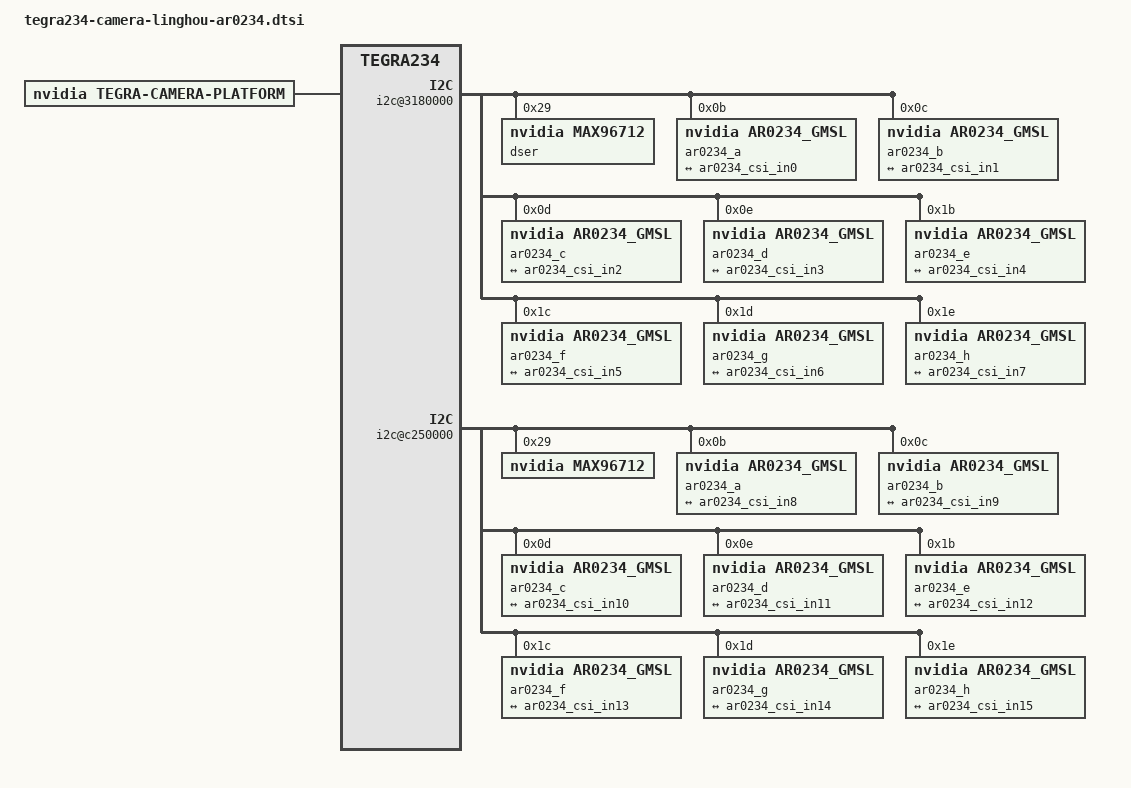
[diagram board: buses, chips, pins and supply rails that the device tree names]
// SPDX-License-Identifier: GPL-2.0-only
// SPDX-FileCopyrightText: Copyright (c) 2023-2024, NVIDIA CORPORATION & AFFILIATE   S. All rights reserved.

#include <dt-bindings/clock/tegra234-clock.h>
#include <dt-bindings/gpio/tegra234-gpio.h>

//#define PIXEL_PHASE_VAL "yuyv"
#define PIXEL_PHASE_VAL "uyvy"

/ {
	vendor-gmsl-camera-info {
		compatible = "vendor-gmsl-camera-info";
		GMSL_CAMERA_TYPE = "=AR0234";
		dtsname = "tegra234-camera-ar0234.dtsi";
		version = "v1.1.0";
		GMSLA = "AR0234";
		GMSLB = "AR0234";
		description = "AR0234 dual DES, 4 ports x (Depth+RGB)";
	};

	bus@0 {
		i2c@3180000 {
			dser: max96712@29 {
				compatible = "nvidia,max96712";
				reg = <0x29>;
				csi-mode = "2x4";
			};
			
			ar0234_a@0b {
				def-addr = <0x3c>;
				/* Define any required hw resources needed by driver */
				/* ie. clocks, io pins, power sources */
				clocks = <&bpmp TEGRA234_CLK_EXTPERIPH1>,
					   <&bpmp TEGRA234_CLK_EXTPERIPH1>;
				clock-names = "extperiph1", "pllp_grtba";
				mclk = "extperiph1";
				dser-ser-init = <1>;
			};
			ar0234_b@0c {
				def-addr = <0x3d>;
				/* Define any required hw resources needed by driver */
				/* ie. clocks, io pins, power sources */
				clocks = <&bpmp TEGRA234_CLK_EXTPERIPH1>,
					   <&bpmp TEGRA234_CLK_EXTPERIPH1>;
				clock-names = "extperiph1", "pllp_grtba";
				mclk = "extperiph1";
			};
			ar0234_c@0d {
				def-addr = <0x3c>;
				/* Define any required hw resources needed by driver */
				/* ie. clocks, io pins, power sources */
				clocks = <&bpmp TEGRA234_CLK_EXTPERIPH1>,
					   <&bpmp TEGRA234_CLK_EXTPERIPH1>;
				clock-names = "extperiph1", "pllp_grtba";
				mclk = "extperiph1";
			};
			ar0234_d@0e {
				def-addr = <0x3d>;
				/* Define any required hw resources needed by driver */
				/* ie. clocks, io pins, power sources */
				clocks = <&bpmp TEGRA234_CLK_EXTPERIPH1>,
					   <&bpmp TEGRA234_CLK_EXTPERIPH1>;
				clock-names = "extperiph1", "pllp_grtba";
				mclk = "extperiph1";
			};
			ar0234_e@1b {
				def-addr = <0x3c>;
				/* Define any required hw resources needed by driver */
				/* ie. clocks, io pins, power sources */
				clocks = <&bpmp TEGRA234_CLK_EXTPERIPH1>,
					   <&bpmp TEGRA234_CLK_EXTPERIPH1>;
				clock-names = "extperiph1", "pllp_grtba";
				mclk = "extperiph1";
				dser-ser-init = <1>;
			};
			ar0234_f@1c {
				def-addr = <0x3d>;
				/* Define any required hw resources needed by driver */
				/* ie. clocks, io pins, power sources */
				clocks = <&bpmp TEGRA234_CLK_EXTPERIPH1>,
					   <&bpmp TEGRA234_CLK_EXTPERIPH1>;
				clock-names = "extperiph1", "pllp_grtba";
				mclk = "extperiph1";
			};
			ar0234_g@1d {
				def-addr = <0x3c>;
				/* Define any required hw resources needed by driver */
				/* ie. clocks, io pins, power sources */
				clocks = <&bpmp TEGRA234_CLK_EXTPERIPH1>,
					   <&bpmp TEGRA234_CLK_EXTPERIPH1>;
				clock-names = "extperiph1", "pllp_grtba";
				mclk = "extperiph1";
			};
			ar0234_h@1e {
				def-addr = <0x3d>;
				/* Define any required hw resources needed by driver */
				/* ie. clocks, io pins, power sources */
				clocks = <&bpmp TEGRA234_CLK_EXTPERIPH1>,
					   <&bpmp TEGRA234_CLK_EXTPERIPH1>;
				clock-names = "extperiph1", "pllp_grtba";
				mclk = "extperiph1";
			};
		};
		
		i2c@c250000 {
			max96712@29 {
				compatible = "nvidia,max96712";
				reg = <0x29>;
				csi-mode = "2x4";
			};
			
			ar0234_a@0b {
				def-addr = <0x3c>;
				/* Define any required hw resources needed by driver */
				/* ie. clocks, io pins, power sources */
				clocks = <&bpmp TEGRA234_CLK_EXTPERIPH1>,
					   <&bpmp TEGRA234_CLK_EXTPERIPH1>;
				clock-names = "extperiph1", "pllp_grtba";
				mclk = "extperiph1";
				dser-ser-init = <1>;
			};
			ar0234_b@0c {
				def-addr = <0x3d>;
				/* Define any required hw resources needed by driver */
				/* ie. clocks, io pins, power sources */
				clocks = <&bpmp TEGRA234_CLK_EXTPERIPH1>,
					   <&bpmp TEGRA234_CLK_EXTPERIPH1>;
				clock-names = "extperiph1", "pllp_grtba";
				mclk = "extperiph1";
			};
			ar0234_c@0d {
				def-addr = <0x3c>;
				/* Define any required hw resources needed by driver */
				/* ie. clocks, io pins, power sources */
				clocks = <&bpmp TEGRA234_CLK_EXTPERIPH1>,
					   <&bpmp TEGRA234_CLK_EXTPERIPH1>;
				clock-names = "extperiph1", "pllp_grtba";
				mclk = "extperiph1";
			};
			ar0234_d@0e {
				def-addr = <0x3d>;
				/* Define any required hw resources needed by driver */
				/* ie. clocks, io pins, power sources */
				clocks = <&bpmp TEGRA234_CLK_EXTPERIPH1>,
					   <&bpmp TEGRA234_CLK_EXTPERIPH1>;
				clock-names = "extperiph1", "pllp_grtba";
				mclk = "extperiph1";
			};
			ar0234_e@1b {
				def-addr = <0x3c>;
				/* Define any required hw resources needed by driver */
				/* ie. clocks, io pins, power sources */
				clocks = <&bpmp TEGRA234_CLK_EXTPERIPH1>,
					   <&bpmp TEGRA234_CLK_EXTPERIPH1>;
				clock-names = "extperiph1", "pllp_grtba";
				mclk = "extperiph1";
				dser-ser-init = <1>;
			};
			ar0234_f@1c {
				def-addr = <0x3d>;
				/* Define any required hw resources needed by driver */
				/* ie. clocks, io pins, power sources */
				clocks = <&bpmp TEGRA234_CLK_EXTPERIPH1>,
					   <&bpmp TEGRA234_CLK_EXTPERIPH1>;
				clock-names = "extperiph1", "pllp_grtba";
				mclk = "extperiph1";
			};
			ar0234_g@1d {
				def-addr = <0x3c>;
				/* Define any required hw resources needed by driver */
				/* ie. clocks, io pins, power sources */
				clocks = <&bpmp TEGRA234_CLK_EXTPERIPH1>,
					   <&bpmp TEGRA234_CLK_EXTPERIPH1>;
				clock-names = "extperiph1", "pllp_grtba";
				mclk = "extperiph1";
			};
			ar0234_h@1e {
				def-addr = <0x3d>;
				/* Define any required hw resources needed by driver */
				/* ie. clocks, io pins, power sources */
				clocks = <&bpmp TEGRA234_CLK_EXTPERIPH1>,
					   <&bpmp TEGRA234_CLK_EXTPERIPH1>;
				clock-names = "extperiph1", "pllp_grtba";
				mclk = "extperiph1";
			};
		};
	};
};

/ {
	tegra-capture-vi {
		num-channels = <16>;
		ports {
			#address-cells = <1>;
			#size-cells = <0>;
			port@0 {
				reg = <0>;
				ar0234_vi_in0: endpoint {
					vc-id = <0>;
					port-index = <0>;
					bus-width = <4>;
					remote-endpoint = <&ar0234_csi_out0>;
				};
			};
			port@1 {
				reg = <1>;
				ar0234_vi_in1: endpoint {
					vc-id = <1>;
					port-index = <0>;
					bus-width = <4>;
					remote-endpoint = <&ar0234_csi_out1>;
				};
			};
			port@2 {
				reg = <2>;
				ar0234_vi_in2: endpoint {
					vc-id = <2>;
					port-index = <0>;
					bus-width = <4>;
					remote-endpoint = <&ar0234_csi_out2>;
				};
			};
			port@3 {
				reg = <3>;
				ar0234_vi_in3: endpoint {
					vc-id = <3>;
					port-index = <0>;
					bus-width = <4>;
					remote-endpoint = <&ar0234_csi_out3>;
				};
			};
			port@4 {
				reg = <4>;
				ar0234_vi_in4: endpoint {
					vc-id = <0>;
					port-index = <2>;
					bus-width = <4>;
					remote-endpoint = <&ar0234_csi_out4>;
				};
			};
			port@5 {
				reg = <5>;
				ar0234_vi_in5: endpoint {
					vc-id = <1>;
					port-index = <2>;
					bus-width = <4>;
					remote-endpoint = <&ar0234_csi_out5>;
				};
			};
			port@6 {
				reg = <6>;
				ar0234_vi_in6: endpoint {
					vc-id = <2>;
					port-index = <2>;
					bus-width = <4>;
					remote-endpoint = <&ar0234_csi_out6>;
				};
			};
			port@7 {
				reg = <7>;
				ar0234_vi_in7: endpoint {
					vc-id = <3>;
					port-index = <2>;
					bus-width = <4>;
					remote-endpoint = <&ar0234_csi_out7>;
				};
			};
			port@8 {
				reg = <8>;
				ar0234_vi_in8: endpoint {
					vc-id = <0>;
					port-index = <4>;
					bus-width = <4>;
					remote-endpoint = <&ar0234_csi_out8>;
				};
			};
			port@9 {
				reg = <9>;
				ar0234_vi_in9: endpoint {
					vc-id = <1>;
					port-index = <4>;
					bus-width = <4>;
					remote-endpoint = <&ar0234_csi_out9>;
				};
			};
			port@10 {
				reg = <10>;
				ar0234_vi_in10: endpoint {
					vc-id = <2>;
					port-index = <4>;
					bus-width = <4>;
					remote-endpoint = <&ar0234_csi_out10>;
				};
			};
			port@11 {
				reg = <11>;
				ar0234_vi_in11: endpoint {
					vc-id = <3>;
					port-index = <4>;
					bus-width = <4>;
					remote-endpoint = <&ar0234_csi_out11>;
				};
			};
			port@12 {
				reg = <12>;
				ar0234_vi_in12: endpoint {
					vc-id = <0>;
					port-index = <5>;
					bus-width = <4>;
					remote-endpoint = <&ar0234_csi_out12>;
				};
			};
			port@13 {
				reg = <13>;
				ar0234_vi_in13: endpoint {
					vc-id = <1>;
					port-index = <5>;
					bus-width = <4>;
					remote-endpoint = <&ar0234_csi_out13>;
				};
			};
			port@14 {
				reg = <14>;
				ar0234_vi_in14: endpoint {
					vc-id = <2>;
					port-index = <5>;
					bus-width = <4>;
					remote-endpoint = <&ar0234_csi_out14>;
				};
			};
			port@15 {
				reg = <15>;
				ar0234_vi_in15: endpoint {
					vc-id = <3>;
					port-index = <5>;
					bus-width = <4>;
					remote-endpoint = <&ar0234_csi_out15>;
				};
			};
		};
	};

	bus@0 {
		host1x@13e00000 {
			nvcsi@15a00000 {
				num-channels = <16>;
				#address-cells = <1>;
				#size-cells = <0>;
				channel@0 {
					reg = <0>;
					ports {
						#address-cells = <1>;
						#size-cells = <0>;
						port@0 {
							reg = <0>;
							ar0234_csi_in0: endpoint@0 {
								port-index = <0>;
								bus-width = <4>;
								remote-endpoint = <&ar0234_ar0234_out0>;
							};
						};
						port@1 {
							reg = <1>;
							ar0234_csi_out0: endpoint@1 {
								remote-endpoint = <&ar0234_vi_in0>;
							};
						};
					};
				};
				channel@1 {
					reg = <1>;
					ports {
						#address-cells = <1>;
						#size-cells = <0>;
						port@0 {
							reg = <0>;
								ar0234_csi_in1: endpoint@0 {
								port-index = <0>;
								bus-width = <4>;
								remote-endpoint = <&ar0234_ar0234_out1>;
							};
						};
						port@1 {
							reg = <1>;
							ar0234_csi_out1: endpoint@1 {
								remote-endpoint = <&ar0234_vi_in1>;
							};
						};
					};
				};
				channel@2 {
					reg = <2>;
					ports {
						#address-cells = <1>;
						#size-cells = <0>;
						port@0 {
							reg = <0>;
							ar0234_csi_in2: endpoint@0 {
								port-index = <0>;
								bus-width = <4>;
								remote-endpoint = <&ar0234_ar0234_out2>;
							};
						};
						port@1 {
							reg = <1>;
							ar0234_csi_out2: endpoint@1 {
								remote-endpoint = <&ar0234_vi_in2>;
							};
						};
					};
				};
				channel@3 {
					reg = <3>;
					ports {
						#address-cells = <1>;
						#size-cells = <0>;
						port@0 {
							reg = <0>;
							ar0234_csi_in3: endpoint@0 {
								port-index = <0>;
								bus-width = <4>;
								remote-endpoint = <&ar0234_ar0234_out3>;
							};
						};
						port@1 {
							reg = <1>;
							ar0234_csi_out3: endpoint@1 {
								remote-endpoint = <&ar0234_vi_in3>;
							};
						};
					};
				};
				channel@4 {
					reg = <4>;
					ports {
						#address-cells = <1>;
						#size-cells = <0>;
						port@0 {
							reg = <0>;
							ar0234_csi_in4: endpoint@0 {
								port-index = <2>;
								bus-width = <4>;
								remote-endpoint = <&ar0234_ar0234_out4>;
							};
						};
						port@1 {
							reg = <1>;
							ar0234_csi_out4: endpoint@1 {
								remote-endpoint = <&ar0234_vi_in4>;
							};
						};
					};
				};
				channel@5 {
					reg = <5>;
					ports {
						#address-cells = <1>;
						#size-cells = <0>;
						port@0 {
							reg = <0>;
								ar0234_csi_in5: endpoint@0 {
								port-index = <2>;
								bus-width = <4>;
								remote-endpoint = <&ar0234_ar0234_out5>;
							};
						};
						port@1 {
							reg = <1>;
							ar0234_csi_out5: endpoint@1 {
								remote-endpoint = <&ar0234_vi_in5>;
							};
						};
					};
				};
				channel@6 {
					reg = <6>;
					ports {
						#address-cells = <1>;
						#size-cells = <0>;
						port@0 {
							reg = <0>;
							ar0234_csi_in6: endpoint@0 {
								port-index = <2>;
								bus-width = <4>;
								remote-endpoint = <&ar0234_ar0234_out6>;
							};
						};
						port@1 {
							reg = <1>;
							ar0234_csi_out6: endpoint@1 {
								remote-endpoint = <&ar0234_vi_in6>;
							};
						};
					};
				};
				channel@7 {
					reg = <7>;
					ports {
						#address-cells = <1>;
						#size-cells = <0>;
						port@0 {
							reg = <0>;
							ar0234_csi_in7: endpoint@0 {
								port-index = <2>;
								bus-width = <4>;
								remote-endpoint = <&ar0234_ar0234_out7>;
							};
						};
						port@1 {
							reg = <1>;
							ar0234_csi_out7: endpoint@1 {
								remote-endpoint = <&ar0234_vi_in7>;
							};
						};
					};
				};
				channel@8 {
					reg = <8>;
					ports {
						#address-cells = <1>;
						#size-cells = <0>;
						port@0 {
							reg = <0>;
							ar0234_csi_in8: endpoint@0 {
								port-index = <4>;
								bus-width = <4>;
								remote-endpoint = <&ar0234_ar0234_out8>;
							};
						};
						port@1 {
							reg = <1>;
							ar0234_csi_out8: endpoint@1 {
								remote-endpoint = <&ar0234_vi_in8>;
							};
						};
					};
				};
				channel@9 {
					reg = <9>;
					ports {
						#address-cells = <1>;
						#size-cells = <0>;
						port@0 {
							reg = <0>;
							ar0234_csi_in9: endpoint@0 {
								port-index = <4>;
								bus-width = <4>;
								remote-endpoint = <&ar0234_ar0234_out9>;
							};
						};
						port@1 {
							reg = <1>;
							ar0234_csi_out9: endpoint@1 {
								remote-endpoint = <&ar0234_vi_in9>;
							};
						};
					};
				};
				channel@10 {
					reg = <10>;
					ports {
						#address-cells = <1>;
						#size-cells = <0>;
						port@0 {
							reg = <0>;
							ar0234_csi_in10: endpoint@0 {
								port-index = <4>;
								bus-width = <4>;
								remote-endpoint = <&ar0234_ar0234_out10>;
							};
						};
						port@1 {
							reg = <1>;
							ar0234_csi_out10: endpoint@1 {
								remote-endpoint = <&ar0234_vi_in10>;
							};
						};
					};
				};
				channel@11 {
					reg = <11>;
					ports {
						#address-cells = <1>;
						#size-cells = <0>;
						port@0 {
							reg = <0>;
							ar0234_csi_in11: endpoint@0 {
								port-index = <4>;
								bus-width = <4>;
								remote-endpoint = <&ar0234_ar0234_out11>;
							};
						};
						port@1 {
							reg = <1>;
							ar0234_csi_out11: endpoint@1 {
								remote-endpoint = <&ar0234_vi_in11>;
							};
						};
					};
				};
				channel@12 {
					reg = <12>;
					ports {
						#address-cells = <1>;
						#size-cells = <0>;
						port@0 {
							reg = <0>;
							ar0234_csi_in12: endpoint@0 {
								port-index = <6>;
								bus-width = <4>;
								remote-endpoint = <&ar0234_ar0234_out12>;
							};
						};
						port@1 {
							reg = <1>;
							ar0234_csi_out12: endpoint@1 {
								remote-endpoint = <&ar0234_vi_in12>;
							};
						};
					};
				};
				channel@13 {
					reg = <13>;
					ports {
						#address-cells = <1>;
						#size-cells = <0>;
						port@0 {
							reg = <0>;
							ar0234_csi_in13: endpoint@0 {
								port-index = <6>;
								bus-width = <4>;
								remote-endpoint = <&ar0234_ar0234_out13>;
							};
						};
						port@1 {
							reg = <1>;
							ar0234_csi_out13: endpoint@1 {
								remote-endpoint = <&ar0234_vi_in13>;
							};
						};
					};
				};
				channel@14 {
					reg = <14>;
					ports {
						#address-cells = <1>;
						#size-cells = <0>;
						port@0 {
							reg = <0>;
							ar0234_csi_in14: endpoint@0 {
								port-index = <6>;
								bus-width = <4>;
								remote-endpoint = <&ar0234_ar0234_out14>;
							};
						};
						port@1 {
							reg = <1>;
							ar0234_csi_out14: endpoint@1 {
								remote-endpoint = <&ar0234_vi_in14>;
							};
						};
					};
				};
				channel@15 {
					reg = <15>;
					ports {
						#address-cells = <1>;
						#size-cells = <0>;
						port@0 {
							reg = <0>;
							ar0234_csi_in15: endpoint@0 {
								port-index = <6>;
								bus-width = <4>;
								remote-endpoint = <&ar0234_ar0234_out15>;
							};
						};
						port@1 {
							reg = <1>;
							ar0234_csi_out15: endpoint@1 {
								remote-endpoint = <&ar0234_vi_in15>;
							};
						};
					};
				};
			};
		};

		i2c@3180000 {
			ar0234_a@0b {
				compatible = "nvidia,ar0234_gmsl";
				v4l2_frmfmt = "cam_gmsl_30fps_1920x1200_frmfmt";
				reg = <0x0b>;
				physical_w = "15.0";
				physical_h = "12.5";
				sensor_model ="gc2145";
				post_crop_frame_drop = "0";
				use_decibel_gain = "true";
				mode0 {
					mclk_khz = "24000";
					num_lanes = "4";
					tegra_sinterface = "serial_a";
					vc_id = "0";
					phy_mode = "DPHY";
					discontinuous_clk = "no";
					dpcm_enable = "false";
					cil_settletime = "0";
					dynamic_pixel_bit_depth = "16";
					csi_pixel_bit_depth = "16";
					mode_type = "yuv";
					pixel_phase = "uyvy";
	
					active_w = "1920";
					active_h = "1200";
					readout_orientation = "0";
					line_length = "2448";
					inherent_gain = "1";
					pix_clk_hz = "74250000";
					//serdes_pix_clk_hz = "187500000";
					serdes_pix_clk_hz = "375000000";
					//serdes_pix_clk_hz = "200000000";
	
					gain_factor = "10";
					min_gain_val = "0"; /* dB */
					max_gain_val = "420"; /* dB */
					step_gain_val = "3"; /* 0.3 */
					default_gain = "150";
					min_hdr_ratio = "1";
					max_hdr_ratio = "1";
					framerate_factor = "1000000";
					min_framerate = "60000000";
					max_framerate = "60000000";
					step_framerate = "1";
					default_framerate = "60000000";
					exposure_factor = "1000000";
					min_exp_time = "59"; /*us, 2 lines*/
					max_exp_time = "33333";
					step_exp_time = "1";
					default_exp_time = "33333";/* us */
					embedded_metadata_height = "0";
				};
	
				ports {
					#address-cells = <1>;
					#size-cells = <0>;
					port@0 {
						reg = <0>;
						ar0234_ar0234_out0: endpoint {
							vc-id = <0>;
							port-index = <0>;
							bus-width = <4>;
							remote-endpoint = <&ar0234_csi_in0>;
						};
					};
				};
			};
	
			ar0234_b@0c {
				compatible = "nvidia,ar0234_gmsl";
				v4l2_frmfmt = "cam_gmsl_30fps_1920x1200_frmfmt";
				reg = <0x0c>;
				/* Physical dimensions of sensor */
				physical_w = "15.0";
				physical_h = "12.5";
	
				sensor_model ="gc2145";
	
				/* Defines number of frames to be dropped by driver internally after applying */
				/* sensor crop settings. Some sensors send corrupt frames after applying */
				/* crop co-ordinates */
				post_crop_frame_drop = "0";
	
				/* Convert Gain to unit of dB (decibel) befor passing to kernel driver */
				use_decibel_gain = "true";
	
				/* enable CID_SENSOR_MODE_ID for sensor modes selection */
				//use_sensor_mode_id = "true";
	
				mode0 {/*mode isx031_MODE_1920X1536_CROP_30FPS*/
                                        mclk_khz = "24000";
                                        num_lanes = "4";
                                        tegra_sinterface = "serial_a";
                                        vc_id = "1";
										phy_mode = "DPHY";
                                        discontinuous_clk = "no";
                                        dpcm_enable = "false";
                                        cil_settletime = "0";
                                        dynamic_pixel_bit_depth = "16";
                                        csi_pixel_bit_depth = "16";
                                        mode_type = "yuv";
                                        pixel_phase = "uyvy";

                                        active_w = "1920";
                                        active_h = "1200";
                                        readout_orientation = "0";
                                        line_length = "2448";
                                        inherent_gain = "1";
                                        pix_clk_hz = "74250000";
                                        //serdes_pix_clk_hz = "187500000";
                                        serdes_pix_clk_hz = "375000000";
                                        //serdes_pix_clk_hz = "200000000";

                                        gain_factor = "10";
                                        min_gain_val = "0"; /* dB */
                                        max_gain_val = "420"; /* dB */
                                        step_gain_val = "3"; /* 0.3 */
                                        default_gain = "150";
                                        min_hdr_ratio = "1";
                                        max_hdr_ratio = "1";
                                        framerate_factor = "1000000";
                                        min_framerate = "60000000";
                                        max_framerate = "60000000";
                                        step_framerate = "1";
                                        default_framerate = "60000000";
                                        exposure_factor = "1000000";
                                        min_exp_time = "59"; /*us, 2 lines*/
                                        max_exp_time = "33333";
                                        step_exp_time = "1";
                                        default_exp_time = "33333";/* us */
                                        embedded_metadata_height = "0";
                                };
				ports {
					#address-cells = <1>;
					#size-cells = <0>;
					port@0 {
						reg = <0>;
						ar0234_ar0234_out1: endpoint {
							vc-id = <1>;
							port-index = <0>;
							bus-width = <4>;
							remote-endpoint = <&ar0234_csi_in1>;
						};
					};
				};
			};
	
			ar0234_c@0d {
				compatible = "nvidia,ar0234_gmsl";
				v4l2_frmfmt = "cam_gmsl_30fps_1920x1200_frmfmt";
				reg = <0x0d>;
	
				/* Physical dimensions of sensor */
				physical_w = "15.0";
				physical_h = "12.5";
	
				sensor_model ="gc2145";
	
				/* Defines number of frames to be dropped by driver internally after applying */
				/* sensor crop settings. Some sensors send corrupt frames after applying */
				/* crop co-ordinates */
				post_crop_frame_drop = "0";
	
				/* Convert Gain to unit of dB (decibel) befor passing to kernel driver */
				use_decibel_gain = "true";
	
				/* enable CID_SENSOR_MODE_ID for sensor modes selection */
				//use_sensor_mode_id = "true";
	
				mode0 {/*mode isx031_MODE_1920X1536_CROP_30FPS*/
                                        mclk_khz = "24000";
                                        num_lanes = "4";
                                        tegra_sinterface = "serial_a";
                                        vc_id = "2";
										phy_mode = "DPHY";
                                        discontinuous_clk = "no";
                                        dpcm_enable = "false";
                                        cil_settletime = "0";
                                        dynamic_pixel_bit_depth = "16";
                                        csi_pixel_bit_depth = "16";
                                        mode_type = "yuv";
                                        pixel_phase = "uyvy";

                                        active_w = "1920";
                                        active_h = "1200";
                                        readout_orientation = "0";
                                        line_length = "2448";
                                        inherent_gain = "1";
                                        pix_clk_hz = "74250000";
                                        //serdes_pix_clk_hz = "187500000";
                                        serdes_pix_clk_hz = "375000000";
                                        //serdes_pix_clk_hz = "200000000";

                                        gain_factor = "10";
                                        min_gain_val = "0"; /* dB */
                                        max_gain_val = "420"; /* dB */
                                        step_gain_val = "3"; /* 0.3 */
                                        default_gain = "150";
                                        min_hdr_ratio = "1";
                                        max_hdr_ratio = "1";
                                        framerate_factor = "1000000";
                                        min_framerate = "60000000";
                                        max_framerate = "60000000";
                                        step_framerate = "1";
                                        default_framerate = "60000000";
                                        exposure_factor = "1000000";
                                        min_exp_time = "59"; /*us, 2 lines*/
                                        max_exp_time = "33333";
                                        step_exp_time = "1";
                                        default_exp_time = "33333";/* us */
                                        embedded_metadata_height = "0";
                                };
				ports {
					#address-cells = <1>;
					#size-cells = <0>;
					port@0 {
						reg = <0>;
						ar0234_ar0234_out2: endpoint {
							vc-id = <2>;
							port-index = <0>;
							bus-width = <4>;
							remote-endpoint = <&ar0234_csi_in2>;
						};
					};
				};
			};
	
			ar0234_d@0e {
				compatible = "nvidia,ar0234_gmsl";
				v4l2_frmfmt = "cam_gmsl_30fps_1920x1200_frmfmt";
				reg = <0x0e>;
				physical_w = "15.0";
				physical_h = "12.5";
				sensor_model ="gc2145";
				post_crop_frame_drop = "0";
				use_decibel_gain = "true";
				mode0 {/*mode isx031_MODE_1920X1536_CROP_30FPS*/
                                        mclk_khz = "24000";
                                        num_lanes = "4";
                                        tegra_sinterface = "serial_a";
                                        vc_id = "3";
										phy_mode = "DPHY";
                                        discontinuous_clk = "no";
                                        dpcm_enable = "false";
                                        cil_settletime = "0";
                                        dynamic_pixel_bit_depth = "16";
                                        csi_pixel_bit_depth = "16";
                                        mode_type = "yuv";
                                        pixel_phase = "uyvy";

                                        active_w = "1920";
                                        active_h = "1200";
                                        readout_orientation = "0";
                                        line_length = "2448";
                                        inherent_gain = "1";
                                        pix_clk_hz = "74250000";
                                        serdes_pix_clk_hz = "375000000";
                                        gain_factor = "10";
                                        min_gain_val = "0"; /* dB */
                                        max_gain_val = "420"; /* dB */
                                        step_gain_val = "3"; /* 0.3 */
                                        default_gain = "150";
                                        min_hdr_ratio = "1";
                                        max_hdr_ratio = "1";
                                        framerate_factor = "1000000";
                                        min_framerate = "60000000";
                                        max_framerate = "60000000";
                                        step_framerate = "1";
                                        default_framerate = "60000000";
                                        exposure_factor = "1000000";
                                        min_exp_time = "59"; /*us, 2 lines*/
                                        max_exp_time = "33333";
                                        step_exp_time = "1";
                                        default_exp_time = "33333";/* us */
                                        embedded_metadata_height = "0";
                                };
				ports {
					#address-cells = <1>;
					#size-cells = <0>;
					port@0 {
						reg = <0>;
						ar0234_ar0234_out3: endpoint {
							vc-id = <3>;
							port-index = <0>;
							bus-width = <4>;
							remote-endpoint = <&ar0234_csi_in3>;
						};
					};
				};
			};
			ar0234_e@1b {
				compatible = "nvidia,ar0234_gmsl";
				v4l2_frmfmt = "cam_gmsl_30fps_1920x1200_frmfmt";
				reg = <0x1b>;
				physical_w = "15.0";
				physical_h = "12.5";
				sensor_model ="gc2145";
				post_crop_frame_drop = "0";
				use_decibel_gain = "true";
				mode0 {/*mode isx031_MODE_1920X1536_CROP_30FPS*/
                                        mclk_khz = "24000";
                                        num_lanes = "4";
                                        tegra_sinterface = "serial_c";
                                        vc_id = "0";
										phy_mode = "DPHY";
                                        discontinuous_clk = "no";
                                        dpcm_enable = "false";
                                        cil_settletime = "0";
                                        dynamic_pixel_bit_depth = "16";
                                        csi_pixel_bit_depth = "16";
                                        mode_type = "yuv";
                                        pixel_phase = "uyvy";

                                        active_w = "1920";
                                        active_h = "1200";
                                        readout_orientation = "0";
                                        line_length = "2448";
                                        inherent_gain = "1";
                                        pix_clk_hz = "74250000";
                                        serdes_pix_clk_hz = "375000000";
                                        gain_factor = "10";
                                        min_gain_val = "0"; /* dB */
                                        max_gain_val = "420"; /* dB */
                                        step_gain_val = "3"; /* 0.3 */
                                        default_gain = "150";
                                        min_hdr_ratio = "1";
                                        max_hdr_ratio = "1";
                                        framerate_factor = "1000000";
                                        min_framerate = "60000000";
                                        max_framerate = "60000000";
                                        step_framerate = "1";
                                        default_framerate = "60000000";
                                        exposure_factor = "1000000";
                                        min_exp_time = "59"; /*us, 2 lines*/
                                        max_exp_time = "33333";
                                        step_exp_time = "1";
                                        default_exp_time = "33333";/* us */
                                        embedded_metadata_height = "0";
                                };
				ports {
					#address-cells = <1>;
					#size-cells = <0>;
					port@0 {
						reg = <0>;
						ar0234_ar0234_out4: endpoint {
							vc-id = <0>;
							port-index = <2>;
							bus-width = <4>;
							remote-endpoint = <&ar0234_csi_in4>;
						};
					};
				};
			};
			ar0234_f@1c {
				compatible = "nvidia,ar0234_gmsl";
				v4l2_frmfmt = "cam_gmsl_30fps_1920x1200_frmfmt";
				reg = <0x1c>;
				physical_w = "15.0";
				physical_h = "12.5";
				sensor_model ="gc2145";
				post_crop_frame_drop = "0";
				use_decibel_gain = "true";
				mode0 {/*mode isx031_MODE_1920X1536_CROP_30FPS*/
                                        mclk_khz = "24000";
                                        num_lanes = "4";
                                        tegra_sinterface = "serial_c";
                                        vc_id = "1";
										phy_mode = "DPHY";
                                        discontinuous_clk = "no";
                                        dpcm_enable = "false";
                                        cil_settletime = "0";
                                        dynamic_pixel_bit_depth = "16";
                                        csi_pixel_bit_depth = "16";
                                        mode_type = "yuv";
                                        pixel_phase = "uyvy";

                                        active_w = "1920";
                                        active_h = "1200";
                                        readout_orientation = "0";
                                        line_length = "2448";
                                        inherent_gain = "1";
                                        pix_clk_hz = "74250000";
                                        serdes_pix_clk_hz = "375000000";
                                        gain_factor = "10";
                                        min_gain_val = "0"; /* dB */
                                        max_gain_val = "420"; /* dB */
                                        step_gain_val = "3"; /* 0.3 */
                                        default_gain = "150";
                                        min_hdr_ratio = "1";
                                        max_hdr_ratio = "1";
                                        framerate_factor = "1000000";
                                        min_framerate = "60000000";
                                        max_framerate = "60000000";
                                        step_framerate = "1";
                                        default_framerate = "60000000";
                                        exposure_factor = "1000000";
                                        min_exp_time = "59"; /*us, 2 lines*/
                                        max_exp_time = "33333";
                                        step_exp_time = "1";
                                        default_exp_time = "33333";/* us */
                                        embedded_metadata_height = "0";
                                };
				ports {
					#address-cells = <1>;
					#size-cells = <0>;
					port@0 {
						reg = <0>;
						ar0234_ar0234_out5: endpoint {
							vc-id = <1>;
							port-index = <2>;
							bus-width = <4>;
							remote-endpoint = <&ar0234_csi_in5>;
						};
					};
				};
			};
			ar0234_g@1d {
				compatible = "nvidia,ar0234_gmsl";
				v4l2_frmfmt = "cam_gmsl_30fps_1920x1200_frmfmt";
				reg = <0x1d>;
				physical_w = "15.0";
				physical_h = "12.5";
				sensor_model ="gc2145";
				post_crop_frame_drop = "0";
				use_decibel_gain = "true";
				mode0 {/*mode isx031_MODE_1920X1536_CROP_30FPS*/
                                        mclk_khz = "24000";
                                        num_lanes = "4";
                                        tegra_sinterface = "serial_c";
                                        vc_id = "2";
										phy_mode = "DPHY";
                                        discontinuous_clk = "no";
                                        dpcm_enable = "false";
                                        cil_settletime = "0";
                                        dynamic_pixel_bit_depth = "16";
                                        csi_pixel_bit_depth = "16";
                                        mode_type = "yuv";
                                        pixel_phase = "uyvy";

                                        active_w = "1920";
                                        active_h = "1200";
                                        readout_orientation = "0";
                                        line_length = "2448";
                                        inherent_gain = "1";
                                        pix_clk_hz = "74250000";
                                        serdes_pix_clk_hz = "375000000";
                                        gain_factor = "10";
                                        min_gain_val = "0"; /* dB */
                                        max_gain_val = "420"; /* dB */
                                        step_gain_val = "3"; /* 0.3 */
                                        default_gain = "150";
                                        min_hdr_ratio = "1";
                                        max_hdr_ratio = "1";
                                        framerate_factor = "1000000";
                                        min_framerate = "60000000";
                                        max_framerate = "60000000";
                                        step_framerate = "1";
                                        default_framerate = "60000000";
                                        exposure_factor = "1000000";
                                        min_exp_time = "59"; /*us, 2 lines*/
                                        max_exp_time = "33333";
                                        step_exp_time = "1";
                                        default_exp_time = "33333";/* us */
                                        embedded_metadata_height = "0";
                                };
				ports {
					#address-cells = <1>;
					#size-cells = <0>;
					port@0 {
						reg = <0>;
						ar0234_ar0234_out6: endpoint {
							vc-id = <2>;
							port-index = <2>;
							bus-width = <4>;
							remote-endpoint = <&ar0234_csi_in6>;
						};
					};
				};
			};
			ar0234_h@1e {
				compatible = "nvidia,ar0234_gmsl";
				v4l2_frmfmt = "cam_gmsl_30fps_1920x1200_frmfmt";
				reg = <0x1e>;
				physical_w = "15.0";
				physical_h = "12.5";
				sensor_model ="gc2145";
				post_crop_frame_drop = "0";
				use_decibel_gain = "true";
				mode0 {/*mode isx031_MODE_1920X1536_CROP_30FPS*/
                                        mclk_khz = "24000";
                                        num_lanes = "4";
                                        tegra_sinterface = "serial_c";
                                        vc_id = "3";
										phy_mode = "DPHY";
                                        discontinuous_clk = "no";
                                        dpcm_enable = "false";
                                        cil_settletime = "0";
                                        dynamic_pixel_bit_depth = "16";
                                        csi_pixel_bit_depth = "16";
                                        mode_type = "yuv";
                                        pixel_phase = "uyvy";

                                        active_w = "1920";
                                        active_h = "1200";
                                        readout_orientation = "0";
                                        line_length = "2448";
                                        inherent_gain = "1";
                                        pix_clk_hz = "74250000";
                                        serdes_pix_clk_hz = "375000000";
                                        gain_factor = "10";
                                        min_gain_val = "0"; /* dB */
                                        max_gain_val = "420"; /* dB */
                                        step_gain_val = "3"; /* 0.3 */
                                        default_gain = "150";
                                        min_hdr_ratio = "1";
                                        max_hdr_ratio = "1";
                                        framerate_factor = "1000000";
                                        min_framerate = "60000000";
                                        max_framerate = "60000000";
                                        step_framerate = "1";
                                        default_framerate = "60000000";
                                        exposure_factor = "1000000";
                                        min_exp_time = "59"; /*us, 2 lines*/
                                        max_exp_time = "33333";
                                        step_exp_time = "1";
                                        default_exp_time = "33333";/* us */
                                        embedded_metadata_height = "0";
                                };
				ports {
					#address-cells = <1>;
					#size-cells = <0>;
					port@0 {
						reg = <0>;
						ar0234_ar0234_out7: endpoint {
							vc-id = <3>;
							port-index = <2>;
							bus-width = <4>;
							remote-endpoint = <&ar0234_csi_in7>;
						};
					};
				};
			};
		};
		
		i2c@c250000 {
			ar0234_a@0b {
				compatible = "nvidia,ar0234_gmsl";
				v4l2_frmfmt = "cam_gmsl_30fps_1920x1200_frmfmt";
				reg = <0x0b>;
	
				/* Physical dimensions of sensor */
				physical_w = "15.0";
				physical_h = "12.5";
	
				sensor_model ="gc2145";
	
				/* Defines number of frames to be dropped by driver internally after applying */
				/* sensor crop settings. Some sensors send corrupt frames after applying */
				/* crop co-ordinates */
				post_crop_frame_drop = "0";
	
				/* Convert Gain to unit of dB (decibel) befor passing to kernel driver */
				use_decibel_gain = "true";
	
				/* enable CID_SENSOR_MODE_ID for sensor modes selection */
				//use_sensor_mode_id = "true";
				mode0 {/*mode isx031_MODE_1920X1536_CROP_30FPS*/
					mclk_khz = "24000";
					num_lanes = "4";
					tegra_sinterface = "serial_e";
					vc_id = "0";
					phy_mode = "DPHY";
					discontinuous_clk = "no";
					dpcm_enable = "false";
					cil_settletime = "0";
					dynamic_pixel_bit_depth = "16";
					csi_pixel_bit_depth = "16";
					mode_type = "yuv";
					pixel_phase = "uyvy";
	
					active_w = "1920";
					active_h = "1200";
					readout_orientation = "0";
					line_length = "2448";
					inherent_gain = "1";
					pix_clk_hz = "74250000";
					//serdes_pix_clk_hz = "187500000";
					serdes_pix_clk_hz = "375000000";
					//serdes_pix_clk_hz = "200000000";
	
					gain_factor = "10";
					min_gain_val = "0"; /* dB */
					max_gain_val = "420"; /* dB */
					step_gain_val = "3"; /* 0.3 */
					default_gain = "150";
					min_hdr_ratio = "1";
					max_hdr_ratio = "1";
					framerate_factor = "1000000";
					min_framerate = "60000000";
					max_framerate = "60000000";
					step_framerate = "1";
					default_framerate = "60000000";
					exposure_factor = "1000000";
					min_exp_time = "59"; /*us, 2 lines*/
					max_exp_time = "33333";
					step_exp_time = "1";
					default_exp_time = "33333";/* us */
					embedded_metadata_height = "0";
				};
				ports {
					#address-cells = <1>;
					#size-cells = <0>;
					port@0 {
						reg = <0>;
						ar0234_ar0234_out8: endpoint {
							vc-id = <0>;
							port-index = <4>;
							bus-width = <4>;
							remote-endpoint = <&ar0234_csi_in8>;
						};
					};
				};
			};
	
			ar0234_b@0c {
				compatible = "nvidia,ar0234_gmsl";
				v4l2_frmfmt = "cam_gmsl_30fps_1920x1200_frmfmt";
				reg = <0x0c>;
	
				/* Physical dimensions of sensor */
				physical_w = "15.0";
				physical_h = "12.5";
	
				sensor_model ="gc2145";
	
				/* Defines number of frames to be dropped by driver internally after applying */
				/* sensor crop settings. Some sensors send corrupt frames after applying */
				/* crop co-ordinates */
				post_crop_frame_drop = "0";
	
				/* Convert Gain to unit of dB (decibel) befor passing to kernel driver */
				use_decibel_gain = "true";
	
				/* enable CID_SENSOR_MODE_ID for sensor modes selection */
				//use_sensor_mode_id = "true";
				mode0 {/*mode isx031_MODE_1920X1536_CROP_30FPS*/
					mclk_khz = "24000";
					num_lanes = "4";
					tegra_sinterface = "serial_e";
					vc_id = "1";
					phy_mode = "DPHY";
					discontinuous_clk = "no";
					dpcm_enable = "false";
					cil_settletime = "0";
					dynamic_pixel_bit_depth = "16";
					csi_pixel_bit_depth = "16";
					mode_type = "yuv";
					pixel_phase = "uyvy";
	
					active_w = "1920";
					active_h = "1200";
					readout_orientation = "0";
					line_length = "2448";
					inherent_gain = "1";
					pix_clk_hz = "74250000";
					//serdes_pix_clk_hz = "187500000";
					serdes_pix_clk_hz = "375000000";
					//serdes_pix_clk_hz = "200000000";
	
					gain_factor = "10";
					min_gain_val = "0"; /* dB */
					max_gain_val = "420"; /* dB */
					step_gain_val = "3"; /* 0.3 */
					default_gain = "150";
					min_hdr_ratio = "1";
					max_hdr_ratio = "1";
					framerate_factor = "1000000";
					min_framerate = "60000000";
					max_framerate = "60000000";
					step_framerate = "1";
					default_framerate = "60000000";
					exposure_factor = "1000000";
					min_exp_time = "59"; /*us, 2 lines*/
					max_exp_time = "33333";
					step_exp_time = "1";
					default_exp_time = "33333";/* us */
					embedded_metadata_height = "0";
				};
	
				ports {
					#address-cells = <1>;
					#size-cells = <0>;
					port@0 {
						reg = <0>;
						ar0234_ar0234_out9: endpoint {
							vc-id = <1>;
							port-index = <4>;
							bus-width = <4>;
							remote-endpoint = <&ar0234_csi_in9>;
						};
					};
				};
			};
	
			ar0234_c@0d {
				compatible = "nvidia,ar0234_gmsl";
				v4l2_frmfmt = "cam_gmsl_30fps_1920x1200_frmfmt";
				reg = <0x0d>;
	
				/* Physical dimensions of sensor */
				physical_w = "15.0";
				physical_h = "12.5";
	
				sensor_model ="gc2145";
	
				/* Defines number of frames to be dropped by driver internally after applying */
				/* sensor crop settings. Some sensors send corrupt frames after applying */
				/* crop co-ordinates */
				post_crop_frame_drop = "0";
	
				/* Convert Gain to unit of dB (decibel) befor passing to kernel driver */
				use_decibel_gain = "true";
	
				/* enable CID_SENSOR_MODE_ID for sensor modes selection */
				//use_sensor_mode_id = "true";
				mode0 {/*mode isx031_MODE_1920X1536_CROP_30FPS*/
					mclk_khz = "24000";
					num_lanes = "4";
					tegra_sinterface = "serial_e";
					vc_id = "2";
					phy_mode = "DPHY";
					discontinuous_clk = "no";
					dpcm_enable = "false";
					cil_settletime = "0";
					dynamic_pixel_bit_depth = "16";
					csi_pixel_bit_depth = "16";
					mode_type = "yuv";
					pixel_phase = "uyvy";
	
					active_w = "1920";
					active_h = "1200";
					readout_orientation = "0";
					line_length = "2448";
					inherent_gain = "1";
					pix_clk_hz = "74250000";
					//serdes_pix_clk_hz = "187500000";
					serdes_pix_clk_hz = "375000000";
					//serdes_pix_clk_hz = "200000000";
	
					gain_factor = "10";
					min_gain_val = "0"; /* dB */
					max_gain_val = "420"; /* dB */
					step_gain_val = "3"; /* 0.3 */
					default_gain = "150";
					min_hdr_ratio = "1";
					max_hdr_ratio = "1";
					framerate_factor = "1000000";
					min_framerate = "60000000";
					max_framerate = "60000000";
					step_framerate = "1";
					default_framerate = "60000000";
					exposure_factor = "1000000";
					min_exp_time = "59"; /*us, 2 lines*/
					max_exp_time = "33333";
					step_exp_time = "1";
					default_exp_time = "33333";/* us */
					embedded_metadata_height = "0";
				};
	
				ports {
					#address-cells = <1>;
					#size-cells = <0>;
					port@0 {
						reg = <0>;
						ar0234_ar0234_out10: endpoint {
							vc-id = <2>;
							port-index = <4>;
							bus-width = <4>;
							remote-endpoint = <&ar0234_csi_in10>;
						};
					};
				};
			};
	
			ar0234_d@0e {
				compatible = "nvidia,ar0234_gmsl";
				v4l2_frmfmt = "cam_gmsl_30fps_1920x1200_frmfmt";
				reg = <0x0e>;
				physical_w = "15.0";
				physical_h = "12.5";
				sensor_model ="gc2145";
				post_crop_frame_drop = "0";
				use_decibel_gain = "true";
				mode0 {/*mode isx031_MODE_1920X1536_CROP_30FPS*/
					mclk_khz = "24000";
					num_lanes = "4";
					tegra_sinterface = "serial_e";
					vc_id = "3";
					phy_mode = "DPHY";
					discontinuous_clk = "no";
					dpcm_enable = "false";
					cil_settletime = "0";
					dynamic_pixel_bit_depth = "16";
					csi_pixel_bit_depth = "16";
					mode_type = "yuv";
					pixel_phase = "uyvy";
					active_w = "1920";
					active_h = "1200";
					readout_orientation = "0";
					line_length = "2448";
					inherent_gain = "1";
					pix_clk_hz = "74250000";
					serdes_pix_clk_hz = "375000000";
					gain_factor = "10";
					min_gain_val = "0"; /* dB */
					max_gain_val = "420"; /* dB */
					step_gain_val = "3"; /* 0.3 */
					default_gain = "150";
					min_hdr_ratio = "1";
					max_hdr_ratio = "1";
					framerate_factor = "1000000";
					min_framerate = "60000000";
					max_framerate = "60000000";
					step_framerate = "1";
					default_framerate = "60000000";
					exposure_factor = "1000000";
					min_exp_time = "59"; /*us, 2 lines*/
					max_exp_time = "33333";
					step_exp_time = "1";
					default_exp_time = "33333";/* us */
					embedded_metadata_height = "0";
				};
	
				ports {
					#address-cells = <1>;
					#size-cells = <0>;
					port@0 {
						reg = <0>;
						ar0234_ar0234_out11: endpoint {
							vc-id = <3>;
							port-index = <4>;
							bus-width = <4>;
							remote-endpoint = <&ar0234_csi_in11>;
						};
					};
				};
			};
			ar0234_e@1b {
				compatible = "nvidia,ar0234_gmsl";
				v4l2_frmfmt = "cam_gmsl_30fps_1920x1200_frmfmt";
				reg = <0x1b>;
				physical_w = "15.0";
				physical_h = "12.5";
				sensor_model ="gc2145";
				post_crop_frame_drop = "0";
				use_decibel_gain = "true";
				mode0 {/*mode isx031_MODE_1920X1536_CROP_30FPS*/
					mclk_khz = "24000";
					num_lanes = "4";
					tegra_sinterface = "serial_g";
					vc_id = "0";
					phy_mode = "DPHY";
					discontinuous_clk = "no";
					dpcm_enable = "false";
					cil_settletime = "0";
					dynamic_pixel_bit_depth = "16";
					csi_pixel_bit_depth = "16";
					mode_type = "yuv";
					pixel_phase = "uyvy";
					active_w = "1920";
					active_h = "1200";
					readout_orientation = "0";
					line_length = "2448";
					inherent_gain = "1";
					pix_clk_hz = "74250000";
					serdes_pix_clk_hz = "375000000";
					gain_factor = "10";
					min_gain_val = "0"; /* dB */
					max_gain_val = "420"; /* dB */
					step_gain_val = "3"; /* 0.3 */
					default_gain = "150";
					min_hdr_ratio = "1";
					max_hdr_ratio = "1";
					framerate_factor = "1000000";
					min_framerate = "60000000";
					max_framerate = "60000000";
					step_framerate = "1";
					default_framerate = "60000000";
					exposure_factor = "1000000";
					min_exp_time = "59"; /*us, 2 lines*/
					max_exp_time = "33333";
					step_exp_time = "1";
					default_exp_time = "33333";/* us */
					embedded_metadata_height = "0";
				};
	
				ports {
					#address-cells = <1>;
					#size-cells = <0>;
					port@0 {
						reg = <0>;
						ar0234_ar0234_out12: endpoint {
							vc-id = <0>;
							port-index = <5>;
							bus-width = <4>;
							remote-endpoint = <&ar0234_csi_in12>;
						};
					};
				};
			};
			ar0234_f@1c {
				compatible = "nvidia,ar0234_gmsl";
				v4l2_frmfmt = "cam_gmsl_30fps_1920x1200_frmfmt";
				reg = <0x1c>;
				physical_w = "15.0";
				physical_h = "12.5";
				sensor_model ="gc2145";
				post_crop_frame_drop = "0";
				use_decibel_gain = "true";
				mode0 {/*mode isx031_MODE_1920X1536_CROP_30FPS*/
					mclk_khz = "24000";
					num_lanes = "4";
					tegra_sinterface = "serial_g";
					vc_id = "1";
					phy_mode = "DPHY";
					discontinuous_clk = "no";
					dpcm_enable = "false";
					cil_settletime = "0";
					dynamic_pixel_bit_depth = "16";
					csi_pixel_bit_depth = "16";
					mode_type = "yuv";
					pixel_phase = "uyvy";
					active_w = "1920";
					active_h = "1200";
					readout_orientation = "0";
					line_length = "2448";
					inherent_gain = "1";
					pix_clk_hz = "74250000";
					serdes_pix_clk_hz = "375000000";
					gain_factor = "10";
					min_gain_val = "0"; /* dB */
					max_gain_val = "420"; /* dB */
					step_gain_val = "3"; /* 0.3 */
					default_gain = "150";
					min_hdr_ratio = "1";
					max_hdr_ratio = "1";
					framerate_factor = "1000000";
					min_framerate = "60000000";
					max_framerate = "60000000";
					step_framerate = "1";
					default_framerate = "60000000";
					exposure_factor = "1000000";
					min_exp_time = "59"; /*us, 2 lines*/
					max_exp_time = "33333";
					step_exp_time = "1";
					default_exp_time = "33333";/* us */
					embedded_metadata_height = "0";
				};
	
				ports {
					#address-cells = <1>;
					#size-cells = <0>;
					port@0 {
						reg = <0>;
						ar0234_ar0234_out13: endpoint {
							vc-id = <1>;
							port-index = <5>;
							bus-width = <4>;
							remote-endpoint = <&ar0234_csi_in13>;
						};
					};
				};
			};
			ar0234_g@1d {
				compatible = "nvidia,ar0234_gmsl";
				v4l2_frmfmt = "cam_gmsl_30fps_1920x1200_frmfmt";
				reg = <0x1d>;
				physical_w = "15.0";
				physical_h = "12.5";
				sensor_model ="gc2145";
				post_crop_frame_drop = "0";
				use_decibel_gain = "true";
				mode0 {/*mode isx031_MODE_1920X1536_CROP_30FPS*/
					mclk_khz = "24000";
					num_lanes = "4";
					tegra_sinterface = "serial_g";
					vc_id = "2";
					phy_mode = "DPHY";
					discontinuous_clk = "no";
					dpcm_enable = "false";
					cil_settletime = "0";
					dynamic_pixel_bit_depth = "16";
					csi_pixel_bit_depth = "16";
					mode_type = "yuv";
					pixel_phase = "uyvy";
					active_w = "1920";
					active_h = "1200";
					readout_orientation = "0";
					line_length = "2448";
					inherent_gain = "1";
					pix_clk_hz = "74250000";
					serdes_pix_clk_hz = "375000000";
					gain_factor = "10";
					min_gain_val = "0"; /* dB */
					max_gain_val = "420"; /* dB */
					step_gain_val = "3"; /* 0.3 */
					default_gain = "150";
					min_hdr_ratio = "1";
					max_hdr_ratio = "1";
					framerate_factor = "1000000";
					min_framerate = "60000000";
					max_framerate = "60000000";
					step_framerate = "1";
					default_framerate = "60000000";
					exposure_factor = "1000000";
					min_exp_time = "59"; /*us, 2 lines*/
					max_exp_time = "33333";
					step_exp_time = "1";
					default_exp_time = "33333";/* us */
					embedded_metadata_height = "0";
				};
	
				ports {
					#address-cells = <1>;
					#size-cells = <0>;
					port@0 {
						reg = <0>;
						ar0234_ar0234_out14: endpoint {
							vc-id = <2>;
							port-index = <5>;
							bus-width = <4>;
							remote-endpoint = <&ar0234_csi_in14>;
						};
					};
				};
			};
			ar0234_h@1e {
				compatible = "nvidia,ar0234_gmsl";
				v4l2_frmfmt = "cam_gmsl_30fps_1920x1200_frmfmt";
				reg = <0x1e>;
				physical_w = "15.0";
				physical_h = "12.5";
				sensor_model ="gc2145";
				post_crop_frame_drop = "0";
				use_decibel_gain = "true";
				mode0 {/*mode isx031_MODE_1920X1536_CROP_30FPS*/
					mclk_khz = "24000";
					num_lanes = "4";
					tegra_sinterface = "serial_g";
					vc_id = "3";
					phy_mode = "DPHY";
					discontinuous_clk = "no";
					dpcm_enable = "false";
					cil_settletime = "0";
					dynamic_pixel_bit_depth = "16";
					csi_pixel_bit_depth = "16";
					mode_type = "yuv";
					pixel_phase = "uyvy";
					active_w = "1920";
					active_h = "1200";
					readout_orientation = "0";
					line_length = "2448";
					inherent_gain = "1";
					pix_clk_hz = "74250000";
					serdes_pix_clk_hz = "375000000";
					gain_factor = "10";
					min_gain_val = "0"; /* dB */
					max_gain_val = "420"; /* dB */
					step_gain_val = "3"; /* 0.3 */
					default_gain = "150";
					min_hdr_ratio = "1";
					max_hdr_ratio = "1";
					framerate_factor = "1000000";
					min_framerate = "60000000";
					max_framerate = "60000000";
					step_framerate = "1";
					default_framerate = "60000000";
					exposure_factor = "1000000";
					min_exp_time = "59"; /*us, 2 lines*/
					max_exp_time = "33333";
					step_exp_time = "1";
					default_exp_time = "33333";/* us */
					embedded_metadata_height = "0";
				};
	
				ports {
					#address-cells = <1>;
					#size-cells = <0>;
					port@0 {
						reg = <0>;
						ar0234_ar0234_out15: endpoint {
							vc-id = <3>;
							port-index = <5>;
							bus-width = <4>;
							remote-endpoint = <&ar0234_csi_in15>;
						};
					};
				};
			};
		};
	};

	tegra-camera-platform {
		compatible = "nvidia, tegra-camera-platform";
		num_csi_lanes = <16>;
		max_lane_speed = <20000000>;
		min_bits_per_pixel = <10>;
		vi_peak_byte_per_pixel = <2>;
		vi_bw_margin_pct = <25>;
		isp_peak_byte_per_pixel = <5>;
		isp_bw_margin_pct = <25>;
		modules {
			module0 {
				badge = "ar0234_bottomleft";
				position = "bottomleft";
				orientation = "1";
				drivernode0 {
					/* Declare PCL support driver (classically known as guid)  */
					pcl_id = "v4l2_sensor";
					/* Declare the device-tree hierarchy to driver instance */
					sysfs-device-tree = "/sys/firmware/devicetree/base/bus@0/i2c@3180000/ar0234_a@0b";
				};
			};
			module1 {
				badge = "ar0234_bottomright";
				position = "centerleft";
				orientation = "1";
				drivernode0 {
					/* Declare PCL support driver (classically known as guid)  */
					pcl_id = "v4l2_sensor";
					/* Declare the device-tree hierarchy to driver instance */
					sysfs-device-tree = "/sys/firmware/devicetree/base/bus@0/i2c@3180000/ar0234_b@0c";
				};
			};
			module2 {
				badge = "ar0234_centerleft";
				position = "centerright";
				orientation = "1";
				drivernode0 {
					/* Declare PCL support driver (classically known as guid)  */
					pcl_id = "v4l2_sensor";
					sysfs-device-tree = "/sys/firmware/devicetree/base/bus@0/i2c@3180000/ar0234_c@0d";
				};
			};
			module3 {
				badge = "ar0234_centerright";
				position = "topleft";
				orientation = "1";
				drivernode0 {
					 /* Declare PCL support driver (classically known as guid)  */
					pcl_id = "v4l2_sensor";
					/* Declare the device-tree hierarchy to driver instance */
					sysfs-device-tree = "/sys/firmware/devicetree/base/bus@0/i2c@3180000/ar0234_d@0e";
				};
			};
			module4 {
				badge = "ar0234_centerright";
				position = "topleft";
				orientation = "1";
				drivernode0 {
					 /* Declare PCL support driver (classically known as guid)  */
					pcl_id = "v4l2_sensor";
					/* Declare the device-tree hierarchy to driver instance */
					sysfs-device-tree = "/sys/firmware/devicetree/base/bus@0/i2c@3180000/ar0234_e@1b";
				};
			};
			module5 {
				badge = "ar0234_centerright";
				position = "topleft";
				orientation = "1";
				drivernode0 {
					 /* Declare PCL support driver (classically known as guid)  */
					pcl_id = "v4l2_sensor";
					/* Declare the device-tree hierarchy to driver instance */
					sysfs-device-tree = "/sys/firmware/devicetree/base/bus@0/i2c@3180000/ar0234_f@1c";
				};
			};
			module6 {
				badge = "ar0234_centerright";
				position = "topleft";
				orientation = "1";
				drivernode0 {
					 /* Declare PCL support driver (classically known as guid)  */
					pcl_id = "v4l2_sensor";
					/* Declare the device-tree hierarchy to driver instance */
					sysfs-device-tree = "/sys/firmware/devicetree/base/bus@0/i2c@3180000/ar0234_g@1d";
				};
			};
			module7 {
				badge = "ar0234_centerright";
				position = "topleft";
				orientation = "1";
				drivernode0 {
					 /* Declare PCL support driver (classically known as guid)  */
					pcl_id = "v4l2_sensor";
					/* Declare the device-tree hierarchy to driver instance */
					sysfs-device-tree = "/sys/firmware/devicetree/base/bus@0/i2c@3180000/ar0234_h@1e";
				};
			};
			module8 {
				badge = "ar0234_bottomleft";
				position = "bottomright";
				orientation = "1";
				drivernode0 {
					/* Declare PCL support driver (classically known as guid)  */
					pcl_id = "v4l2_sensor";
					/* Declare the device-tree hierarchy to driver instance */
					sysfs-device-tree = "/sys/firmware/devicetree/base/bus@0/i2c@c250000/ar0234_a@0b";
				};
			};
			module9 {
				badge = "ar0234_bottomright";
				position = "topright";
				orientation = "1";
				drivernode0 {
					/* Declare PCL support driver (classically known as guid)  */
					pcl_id = "v4l2_sensor";
					/* Declare the device-tree hierarchy to driver instance */
					sysfs-device-tree = "/sys/firmware/devicetree/base/bus@0/i2c@c250000/ar0234_b@0c";
				};
			};
			module10 {
				badge = "ar0234_centerleft";
				position = "bottomcenter";
				orientation = "1";
				drivernode0 {
					/* Declare PCL support driver (classically known as guid)  */
					pcl_id = "v4l2_sensor";
					/* Declare the device-tree hierarchy to driver instance */
					sysfs-device-tree = "/sys/firmware/devicetree/base/bus@0/i2c@c250000/ar0234_c@0d";
				};
			};
			module11 {
				badge = "ar0234_centerright";
				position = "topcenter";
				orientation = "1";
				drivernode0 {
					 /* Declare PCL support driver (classically known as guid)  */
					pcl_id = "v4l2_sensor";
					/* Declare the device-tree hierarchy to driver instance */
					sysfs-device-tree = "/sys/firmware/devicetree/base/bus@0/i2c@c250000/ar0234_d@0e";
				};
			};
			module12 {
				badge = "ar0234_centerright";
				position = "topcenter";
				orientation = "1";
				drivernode0 {
					 /* Declare PCL support driver (classically known as guid)  */
					pcl_id = "v4l2_sensor";
					/* Declare the device-tree hierarchy to driver instance */
					sysfs-device-tree = "/sys/firmware/devicetree/base/bus@0/i2c@c250000/ar0234_e@1b";
				};
			};
			module13 {
				badge = "ar0234_centerright";
				position = "topcenter";
				orientation = "1";
				drivernode0 {
					 /* Declare PCL support driver (classically known as guid)  */
					pcl_id = "v4l2_sensor";
					/* Declare the device-tree hierarchy to driver instance */
					sysfs-device-tree = "/sys/firmware/devicetree/base/bus@0/i2c@c250000/ar0234_f@1c";
				};
			};
			module14 {
				badge = "ar0234_centerright";
				position = "topcenter";
				orientation = "1";
				drivernode0 {
					 /* Declare PCL support driver (classically known as guid)  */
					pcl_id = "v4l2_sensor";
					/* Declare the device-tree hierarchy to driver instance */
					sysfs-device-tree = "/sys/firmware/devicetree/base/bus@0/i2c@c250000/ar0234_g@1d";
				};
			};
			module15 {
				badge = "ar0234_centerright";
				position = "topcenter";
				orientation = "1";
				drivernode0 {
					 /* Declare PCL support driver (classically known as guid)  */
					pcl_id = "v4l2_sensor";
					/* Declare the device-tree hierarchy to driver instance */
					sysfs-device-tree = "/sys/firmware/devicetree/base/bus@0/i2c@c250000/ar0234_h@1e";
				};
			};
		};
	};
};

